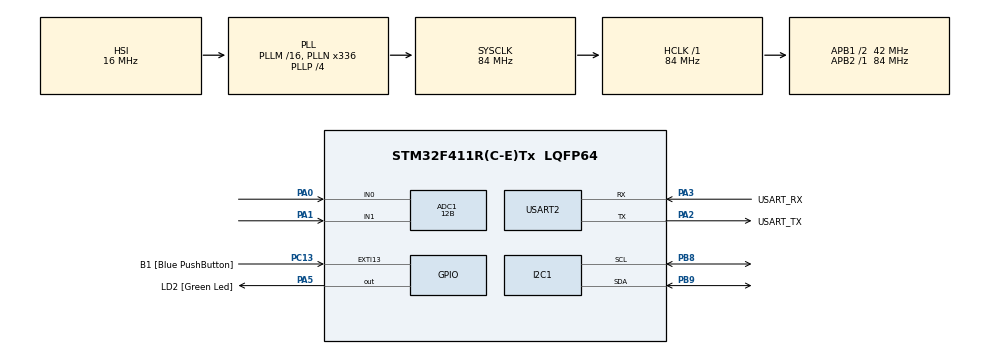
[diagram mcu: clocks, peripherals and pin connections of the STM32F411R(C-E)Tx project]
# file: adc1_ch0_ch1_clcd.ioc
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ADC1.Channel-0\#ChannelRegularConversion=ADC_CHANNEL_0
ADC1.Channel-1\#ChannelRegularConversion=ADC_CHANNEL_1
ADC1.ClockPrescaler=ADC_CLOCK_SYNC_PCLK_DIV6
ADC1.NbrOfConversion=2
ADC1.NbrOfConversionFlag=1
ADC1.Rank-0\#ChannelRegularConversion=1
ADC1.Rank-1\#ChannelRegularConversion=2
ADC1.Resolution=ADC_RESOLUTION_12B
ADC1.SamplingTime-0\#ChannelRegularConversion=ADC_SAMPLETIME_15CYCLES
ADC1.SamplingTime-1\#ChannelRegularConversion=ADC_SAMPLETIME_15CYCLES
ADC1.ScanConvMode=ENABLE
ADC1.master=1
Mcu.Family=STM32F4
Mcu.Name=STM32F411R(C-E)Tx
Mcu.Package=LQFP64
NVIC.PriorityGroup=NVIC_PRIORITYGROUP_0
PA0-WKUP.Signal=ADCx_IN0
PA1.Signal=ADCx_IN1
PA13.GPIO_Label=TMS
PA13.Mode=Serial_Wire
PA13.Signal=SYS_JTMS-SWDIO
PA14.GPIO_Label=TCK
PA14.Mode=Serial_Wire
PA14.Signal=SYS_JTCK-SWCLK
PA2.GPIO_Label=USART_TX
PA2.Mode=Asynchronous
PA2.Signal=USART2_TX
PA3.GPIO_Label=USART_RX
PA3.Mode=Asynchronous
PA3.Signal=USART2_RX
PA5.GPIO_Label=LD2 [Green Led]
PA5.Signal=GPIO_Output
PB3.GPIO_Label=SWO
PB3.Signal=SYS_JTDO-SWO
PB8.Mode=I2C
PB8.Signal=I2C1_SCL
PB9.Mode=I2C
PB9.Signal=I2C1_SDA
PC13-ANTI_TAMP.GPIO_Label=B1 [Blue PushButton]
PC13-ANTI_TAMP.GPIO_ModeDefaultEXTI=GPIO_MODE_IT_FALLING
PC13-ANTI_TAMP.Signal=GPXTI13
PC14-OSC32_IN.Signal=RCC_OSC32_IN
PC15-OSC32_OUT.Signal=RCC_OSC32_OUT
PH0\ -\ OSC_IN.Signal=RCC_OSC_IN
PH1\ -\ OSC_OUT.Signal=RCC_OSC_OUT
ProjectManager.HeapSize=0x200
ProjectManager.StackSize=0x400
ProjectManager.TargetToolchain=STM32CubeIDE
RCC.48MHZClocksFreq_Value=84000000
RCC.AHBFreq_Value=84000000
RCC.APB1CLKDivider=RCC_HCLK_DIV2
RCC.APB1Freq_Value=42000000
RCC.APB1TimFreq_Value=84000000
RCC.APB2Freq_Value=84000000
RCC.APB2TimFreq_Value=84000000
RCC.CortexFreq_Value=84000000
RCC.FLatency-AdvancedSettings=FLASH_LATENCY_2
RCC.HCLKFreq_Value=84000000
RCC.HSE_VALUE=8000000
RCC.HSI_VALUE=16000000
RCC.PLLN=336
RCC.PLLP=RCC_PLLP_DIV4
RCC.SYSCLKFreq_VALUE=84000000
RCC.SYSCLKSource=RCC_SYSCLKSOURCE_PLLCLK
RCC.VCOOutputFreq_Value=336000000
SH.ADCx_IN0.0=ADC1_IN0,IN0
SH.ADCx_IN1.0=ADC1_IN1,IN1
USART2.VirtualMode=VM_ASYNC
board=NUCLEO-F411RE

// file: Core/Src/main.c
/* USER CODE BEGIN Header */
/**
  ******************************************************************************
  * @file           : main.c
  * @brief          : Main program body
  ******************************************************************************
  * @attention
  *
  * Copyright (c) 2025 STMicroelectronics.
  * All rights reserved.
  *
  * This software is licensed under terms that can be found in the LICENSE file
  * in the root directory of this software component.
  * If no LICENSE file comes with this software, it is provided AS-IS.
  *
  ******************************************************************************
  */
/* USER CODE END Header */
#include "main.h"

/* USER CODE BEGIN Includes */
#include "clcd.h"
#include <stdio.h>
/* USER CODE END Includes */

/* USER CODE BEGIN PD */
#ifdef __GNUC__
/* With GCC, small printf (option LD Linker->Libraries->Small printf
   set to 'Yes') calls __io_putchar() */
#define PUTCHAR_PROTOTYPE int __io_putchar(int ch)
#else
#define PUTCHAR_PROTOTYPE int fputc(int ch, FILE *f)
#endif /* __GNUC__ */
/* USER CODE END PD */

ADC_HandleTypeDef hadc1;

I2C_HandleTypeDef hi2c1;

UART_HandleTypeDef huart2;

void SystemClock_Config(void);
static void MX_GPIO_Init(void);
static void MX_USART2_UART_Init(void);
static void MX_I2C1_Init(void);
static void MX_ADC1_Init(void);

int main(void)
{

  /* USER CODE BEGIN 1 */
	uint16_t ADC1ConvertVaue[2] = {0, };
	char lcd_buf1[17];
	char lcd_buf2[17];
  /* USER CODE END 1 */

  /* MCU Configuration--------------------------------------------------------*/

  /* Reset of all peripherals, Initializes the Flash interface and the Systick. */
  HAL_Init();

  /* Configure the system clock */
  SystemClock_Config();

  /* Initialize all configured peripherals */
  MX_GPIO_Init();
  MX_USART2_UART_Init();
  MX_I2C1_Init();
  MX_ADC1_Init();
  /* USER CODE BEGIN 2 */
  LCD_init(&hi2c1);
  printf("start main() adc1_ch0_ch1_clcd\r\n");
  LCD_writeStringXY(0, 0, "start main()!");
  LCD_writeStringXY(1, 0, "adc1_ch0_ch1_clcd");
  /* USER CODE END 2 */

  /* Infinite loop */
  /* USER CODE BEGIN WHILE */
  while (1)
  {
	  if(HAL_ADC_Start(&hadc1) != HAL_OK)
		  Error_Handler();
	  for(int i = 0; i < 2; i++)
	  {
		HAL_ADC_PollForConversion(&hadc1, 100);
		if((HAL_ADC_GetState(&hadc1) & HAL_ADC_STATE_REG_EOC) == HAL_ADC_STATE_REG_EOC)
		{
//			printf("ADC ch%d = %lu\r\n", i, HAL_ADC_GetValue(&hadc1));
			ADC1ConvertVaue[i] = HAL_ADC_GetValue(&hadc1);
		}
	  }
	  HAL_ADC_Stop(&hadc1);
	  sprintf(lcd_buf1, "VAR : %d        ", ADC1ConvertVaue[0]);
	  sprintf(lcd_buf2, "CDS : %d        ", ADC1ConvertVaue[1]);

	  LCD_writeStringXY(0, 0, lcd_buf1);
	  LCD_writeStringXY(1, 0, lcd_buf2);

	  printf("VAR = %d, VAR_V = %lf CDS = %d\r\n", ADC1ConvertVaue[0], ADC1ConvertVaue[0] * 3.3 / 4096, ADC1ConvertVaue[1]);
	  HAL_Delay(100);
    /* USER CODE END WHILE */

  }
}

void SystemClock_Config(void)
{
  RCC_OscInitTypeDef RCC_OscInitStruct = {0};
  RCC_ClkInitTypeDef RCC_ClkInitStruct = {0};

  /** Configure the main internal regulator output voltage
  */
  __HAL_RCC_PWR_CLK_ENABLE();
  __HAL_PWR_VOLTAGESCALING_CONFIG(PWR_REGULATOR_VOLTAGE_SCALE1);

  /** Initializes the RCC Oscillators according to the specified parameters
  * in the RCC_OscInitTypeDef structure.
  */
  RCC_OscInitStruct.OscillatorType = RCC_OSCILLATORTYPE_HSI;
  RCC_OscInitStruct.HSIState = RCC_HSI_ON;
  RCC_OscInitStruct.HSICalibrationValue = RCC_HSICALIBRATION_DEFAULT;
  RCC_OscInitStruct.PLL.PLLState = RCC_PLL_ON;
  RCC_OscInitStruct.PLL.PLLSource = RCC_PLLSOURCE_HSI;
  RCC_OscInitStruct.PLL.PLLM = 16;
  RCC_OscInitStruct.PLL.PLLN = 336;
  RCC_OscInitStruct.PLL.PLLP = RCC_PLLP_DIV4;
  RCC_OscInitStruct.PLL.PLLQ = 4;
  if (HAL_RCC_OscConfig(&RCC_OscInitStruct) != HAL_OK)
  {
    Error_Handler();
  }

  /** Initializes the CPU, AHB and APB buses clocks
  */
  RCC_ClkInitStruct.ClockType = RCC_CLOCKTYPE_HCLK|RCC_CLOCKTYPE_SYSCLK
                              |RCC_CLOCKTYPE_PCLK1|RCC_CLOCKTYPE_PCLK2;
  RCC_ClkInitStruct.SYSCLKSource = RCC_SYSCLKSOURCE_PLLCLK;
  RCC_ClkInitStruct.AHBCLKDivider = RCC_SYSCLK_DIV1;
  RCC_ClkInitStruct.APB1CLKDivider = RCC_HCLK_DIV2;
  RCC_ClkInitStruct.APB2CLKDivider = RCC_HCLK_DIV1;

  if (HAL_RCC_ClockConfig(&RCC_ClkInitStruct, FLASH_LATENCY_2) != HAL_OK)
  {
    Error_Handler();
  }
}

static void MX_ADC1_Init(void)
{

  ADC_ChannelConfTypeDef sConfig = {0};

  /** Configure the global features of the ADC (Clock, Resolution, Data Alignment and number of conversion)
  */
  hadc1.Instance = ADC1;
  hadc1.Init.ClockPrescaler = ADC_CLOCK_SYNC_PCLK_DIV6;
  hadc1.Init.Resolution = ADC_RESOLUTION_12B;
  hadc1.Init.ScanConvMode = ENABLE;
  hadc1.Init.ContinuousConvMode = DISABLE;
  hadc1.Init.DiscontinuousConvMode = DISABLE;
  hadc1.Init.ExternalTrigConvEdge = ADC_EXTERNALTRIGCONVEDGE_NONE;
  hadc1.Init.ExternalTrigConv = ADC_SOFTWARE_START;
  hadc1.Init.DataAlign = ADC_DATAALIGN_RIGHT;
  hadc1.Init.NbrOfConversion = 2;
  hadc1.Init.DMAContinuousRequests = DISABLE;
  hadc1.Init.EOCSelection = ADC_EOC_SINGLE_CONV;
  if (HAL_ADC_Init(&hadc1) != HAL_OK)
  {
    Error_Handler();
  }

  /** Configure for the selected ADC regular channel its corresponding rank in the sequencer and its sample time.
  */
  sConfig.Channel = ADC_CHANNEL_0;
  sConfig.Rank = 1;
  sConfig.SamplingTime = ADC_SAMPLETIME_15CYCLES;
  if (HAL_ADC_ConfigChannel(&hadc1, &sConfig) != HAL_OK)
  {
    Error_Handler();
  }

  /** Configure for the selected ADC regular channel its corresponding rank in the sequencer and its sample time.
  */
  sConfig.Channel = ADC_CHANNEL_1;
  sConfig.Rank = 2;
  if (HAL_ADC_ConfigChannel(&hadc1, &sConfig) != HAL_OK)
  {
    Error_Handler();
  }

}

static void MX_I2C1_Init(void)
{

  hi2c1.Instance = I2C1;
  hi2c1.Init.ClockSpeed = 100000;
  hi2c1.Init.DutyCycle = I2C_DUTYCYCLE_2;
  hi2c1.Init.OwnAddress1 = 0;
  hi2c1.Init.AddressingMode = I2C_ADDRESSINGMODE_7BIT;
  hi2c1.Init.DualAddressMode = I2C_DUALADDRESS_DISABLE;
  hi2c1.Init.OwnAddress2 = 0;
  hi2c1.Init.GeneralCallMode = I2C_GENERALCALL_DISABLE;
  hi2c1.Init.NoStretchMode = I2C_NOSTRETCH_DISABLE;
  if (HAL_I2C_Init(&hi2c1) != HAL_OK)
  {
    Error_Handler();
  }

}

static void MX_USART2_UART_Init(void)
{

  huart2.Instance = USART2;
  huart2.Init.BaudRate = 115200;
  huart2.Init.WordLength = UART_WORDLENGTH_8B;
  huart2.Init.StopBits = UART_STOPBITS_1;
  huart2.Init.Parity = UART_PARITY_NONE;
  huart2.Init.Mode = UART_MODE_TX_RX;
  huart2.Init.HwFlowCtl = UART_HWCONTROL_NONE;
  huart2.Init.OverSampling = UART_OVERSAMPLING_16;
  if (HAL_UART_Init(&huart2) != HAL_OK)
  {
    Error_Handler();
  }

}

static void MX_GPIO_Init(void)
{
  GPIO_InitTypeDef GPIO_InitStruct = {0};

  /* GPIO Ports Clock Enable */
  __HAL_RCC_GPIOC_CLK_ENABLE();
  __HAL_RCC_GPIOH_CLK_ENABLE();
  __HAL_RCC_GPIOA_CLK_ENABLE();
  __HAL_RCC_GPIOB_CLK_ENABLE();

  /*Configure GPIO pin Output Level */
  HAL_GPIO_WritePin(LD2_GPIO_Port, LD2_Pin, GPIO_PIN_RESET);

  /*Configure GPIO pin : B1_Pin */
  GPIO_InitStruct.Pin = B1_Pin;
  GPIO_InitStruct.Mode = GPIO_MODE_IT_FALLING;
  GPIO_InitStruct.Pull = GPIO_NOPULL;
  HAL_GPIO_Init(B1_GPIO_Port, &GPIO_InitStruct);

  /*Configure GPIO pin : LD2_Pin */
  GPIO_InitStruct.Pin = LD2_Pin;
  GPIO_InitStruct.Mode = GPIO_MODE_OUTPUT_PP;
  GPIO_InitStruct.Pull = GPIO_NOPULL;
  GPIO_InitStruct.Speed = GPIO_SPEED_FREQ_LOW;
  HAL_GPIO_Init(LD2_GPIO_Port, &GPIO_InitStruct);

}

/* USER CODE BEGIN 4 */
PUTCHAR_PROTOTYPE
{
  /* Place your implementation of fputc here */
  /* e.g. write a character to the USART6 and Loop until the end of transmission */
  HAL_UART_Transmit(&huart2, (uint8_t *)&ch, 1, 0xFFFF);

  return ch;
}
/* USER CODE END 4 */

void Error_Handler(void)
{
  __disable_irq();
  while (1)
  {
  }
}
